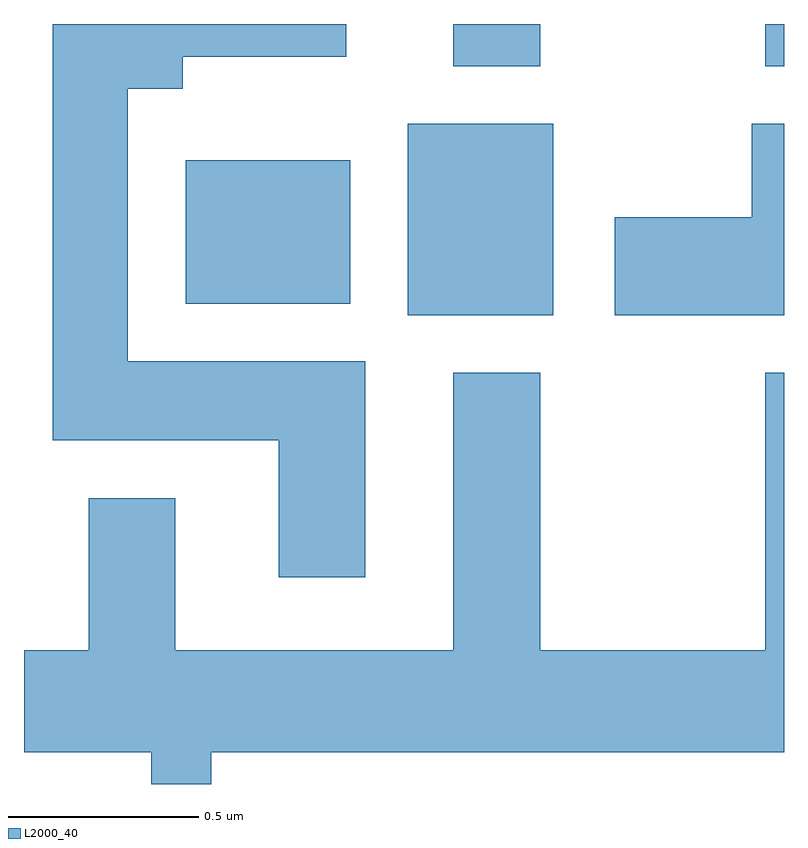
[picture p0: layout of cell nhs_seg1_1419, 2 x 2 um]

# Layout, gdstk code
import gdstk
lib = gdstk.Library(unit=1e-6, precision=1e-09)
def R(c, l, rs):  # rectangles x0, y0, x1, y1
    for r in rs: c.add(gdstk.rectangle(r[:2], r[2:], *l))
def P(c, l, *ps):  # polygons
    for p in ps: c.add(gdstk.Polygon(p, *l))
L2000_40 = (2000, 40)

nhs_seg1_1419 = lib.new_cell('nhs_seg1_1419')
R(nhs_seg1_1419, L2000_40, [(196.621,902.946,197.004,903.449), (196.036,902.976,196.469,903.354), (196.741,903.601,196.969,903.712), (197.561,903.601,197.611,903.712)])
P(nhs_seg1_1419, L2000_40, [(196.509,902.824),(195.884,902.824),(195.884,903.541),(196.029,903.541),(196.029,903.626),(196.459,903.626),(196.459,903.712),(195.686,903.712),(195.686,902.616),(196.281,902.616),(196.281,902.256),(196.509,902.256)],
  [(197.611,903.449),(197.526,903.449),(197.526,903.204),(197.166,903.204),(197.166,902.946),(197.611,902.946)],
  [(196.104,901.796),(197.611,901.796),(197.611,902.794),(197.561,902.794),(197.561,902.064),(196.969,902.064),(196.969,902.794),(196.741,902.794),(196.741,902.064),(196.009,902.064),(196.009,902.464),(195.781,902.464),(195.781,902.064),(195.611,902.064),(195.611,901.796),(195.946,901.796),(195.946,901.712),(196.104,901.712)])

lib.write_gds('nhs_seg1_1419.gds')
